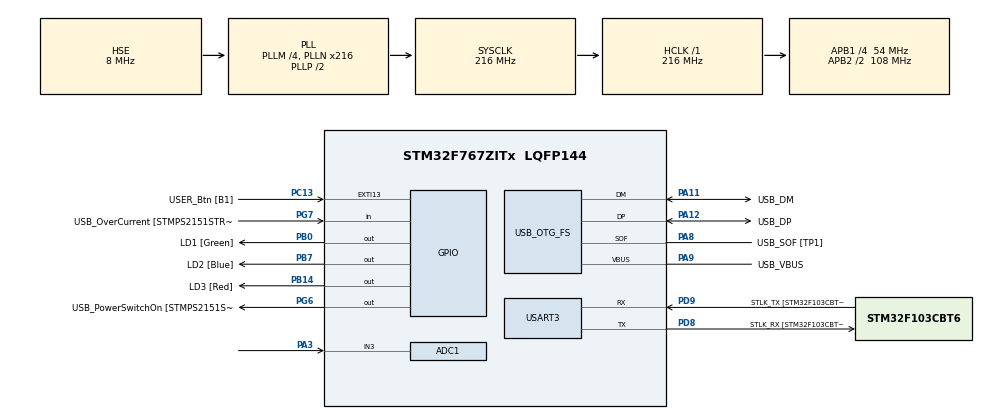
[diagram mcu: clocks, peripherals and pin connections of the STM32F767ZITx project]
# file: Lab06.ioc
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ADC1.Channel-0\#ChannelRegularConversion=ADC_CHANNEL_3
ADC1.ExternalTrigConv=ADC_EXTERNALTRIGCONV_T2_TRGO
ADC1.NbrOfConversionFlag=1
ADC1.Rank-0\#ChannelRegularConversion=1
ADC1.SamplingTime-0\#ChannelRegularConversion=ADC_SAMPLETIME_28CYCLES
ADC1.master=1
Mcu.Family=STM32F7
Mcu.Name=STM32F767ZITx
Mcu.Package=LQFP144
NVIC.ADC_IRQn=true\:2\:0\:true\:false\:true\:true\:true\:true
NVIC.PriorityGroup=NVIC_PRIORITYGROUP_4
NVIC.TIM1_UP_TIM10_IRQn=true\:1\:0\:true\:false\:true\:true\:true\:true
NVIC.TIM2_IRQn=true\:2\:0\:true\:false\:true\:true\:true\:true
PA1.GPIO_Label=RMII_REF_CLK [LAN8742A-CZ-TR_REFCLK0]
PA1.Signal=ETH_REF_CLK
PA10.GPIO_Label=USB_ID
PA10.Signal=USB_OTG_FS_ID
PA11.GPIO_Label=USB_DM
PA11.Mode=Device_Only
PA11.Signal=USB_OTG_FS_DM
PA12.GPIO_Label=USB_DP
PA12.Mode=Device_Only
PA12.Signal=USB_OTG_FS_DP
PA13.GPIO_Label=TMS
PA13.Mode=Serial_Wire
PA13.Signal=SYS_JTMS-SWDIO
PA14.GPIO_Label=TCK
PA14.Mode=Serial_Wire
PA14.Signal=SYS_JTCK-SWCLK
PA2.GPIO_Label=RMII_MDIO [LAN8742A-CZ-TR_MDIO]
PA2.Signal=ETH_MDIO
PA3.Signal=ADCx_IN3
PA7.GPIO_Label=RMII_CRS_DV [LAN8742A-CZ-TR_CRS_DV]
PA7.Signal=ETH_CRS_DV
PA8.GPIO_Label=USB_SOF [TP1]
PA8.Mode=Activate_SOF_FS
PA8.Signal=USB_OTG_FS_SOF
PA9.GPIO_Label=USB_VBUS
PA9.Mode=Activate_VBUS
PA9.Signal=USB_OTG_FS_VBUS
PB0.GPIO_Label=LD1 [Green]
PB0.Signal=GPIO_Output
PB13.GPIO_Label=RMII_TXD1 [LAN8742A-CZ-TR_TXD1]
PB13.Signal=ETH_TXD1
PB14.GPIO_Label=LD3 [Red]
PB14.Signal=GPIO_Output
PB3.GPIO_Label=SWO
PB3.Signal=SYS_JTDO-SWO
PB7.GPIO_Label=LD2 [Blue]
PB7.Signal=GPIO_Output
PC1.GPIO_Label=RMII_MDC [LAN8742A-CZ-TR_MDC]
PC1.Signal=ETH_MDC
PC13.GPIO_Label=USER_Btn [B1]
PC13.Signal=GPXTI13
PC14/OSC32_IN.Mode=LSE-External-Oscillator
PC14/OSC32_IN.Signal=RCC_OSC32_IN
PC15/OSC32_OUT.Mode=LSE-External-Oscillator
PC15/OSC32_OUT.Signal=RCC_OSC32_OUT
PC4.GPIO_Label=RMII_RXD0 [LAN8742A-CZ-TR_RXD0]
PC4.Signal=ETH_RXD0
PC5.GPIO_Label=RMII_RXD1 [LAN8742A-CZ-TR_RXD1]
PC5.Signal=ETH_RXD1
PD8.GPIO_Label=STLK_RX [STM32F103CBT6_PA3]
PD8.Mode=Asynchronous
PD8.Signal=USART3_TX
PD9.GPIO_Label=STLK_TX [STM32F103CBT6_PA2]
PD9.Mode=Asynchronous
PD9.Signal=USART3_RX
PG11.GPIO_Label=RMII_TX_EN [LAN8742A-CZ-TR_TXEN]
PG11.Signal=ETH_TX_EN
PG13.GPIO_Label=RMII_TXD0 [LAN8742A-CZ-TR_TXD0]
PG13.Signal=ETH_TXD0
PG6.GPIO_Label=USB_PowerSwitchOn [STMPS2151STR_EN]
PG6.Signal=GPIO_Output
PG7.GPIO_Label=USB_OverCurrent [STMPS2151STR_FAULT]
PG7.Signal=GPIO_Input
PH0/OSC_IN.GPIO_Label=MCO [STM32F103CBT6_PA8]
PH0/OSC_IN.Mode=HSE-External-Clock-Source
PH0/OSC_IN.Signal=RCC_OSC_IN
PH1/OSC_OUT.Mode=HSE-External-Clock-Source
PH1/OSC_OUT.Signal=RCC_OSC_OUT
ProjectManager.HeapSize=0x200
ProjectManager.StackSize=0x400
ProjectManager.TargetToolchain=STM32CubeIDE
RCC.48MHZClocksFreq_Value=24000000
RCC.AHBFreq_Value=216000000
RCC.APB1CLKDivider=RCC_HCLK_DIV4
RCC.APB1Freq_Value=54000000
RCC.APB1TimFreq_Value=108000000
RCC.APB2CLKDivider=RCC_HCLK_DIV2
RCC.APB2Freq_Value=108000000
RCC.APB2TimFreq_Value=216000000
RCC.CortexFreq_Value=216000000
RCC.HCLKFreq_Value=216000000
RCC.HSE_VALUE=8000000
RCC.HSI_VALUE=16000000
RCC.PLLM=4
RCC.PLLMUL=RCC_PLL_MUL9
RCC.PLLN=216
RCC.PLLQ=9
RCC.PRESCALERUSB=RCC_USBCLKSOURCE_PLL_DIV1_5
RCC.SYSCLKFreq_VALUE=216000000
RCC.SYSCLKSource=RCC_SYSCLKSOURCE_PLLCLK
RCC.SYSCLKSourceVirtual=RCC_SYSCLKSOURCE_PLLCLK
RCC.USBFreq_Value=48000000
RCC.VCOOutputFreq_Value=432000000
SH.ADCx_IN3.0=ADC1_IN3,IN3
TIM1.AutoReloadPreload=TIM_AUTORELOAD_PRELOAD_DISABLE
TIM1.Period=1000-1
TIM1.Prescaler=216-1
TIM1.RepetitionCounter=0
TIM2.ClockDivision=TIM_CLOCKDIVISION_DIV4
TIM2.Period=10000-1
TIM2.Prescaler=21600
TIM2.TIM_MasterOutputTrigger=TIM_TRGO_RESET
USART3.VirtualMode-Asynchronous=VM_ASYNC
USB_OTG_FS.VirtualMode=Device_Only
VP_TIM1_VS_ClockSourceINT.Mode=Internal
VP_TIM2_VS_ClockSourceINT.Mode=Internal
board=NUCLEO-F767ZI

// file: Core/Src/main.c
/* USER CODE BEGIN Header */
/**
  ******************************************************************************
  * @file           : main.c
  * @brief          : Main program body
  ******************************************************************************
  * @attention
  *
  * Copyright (c) 2023 STMicroelectronics.
  * All rights reserved.
  *
  * This software is licensed under terms that can be found in the LICENSE file
  * in the root directory of this software component.
  * If no LICENSE file comes with this software, it is provided AS-IS.
  *
  ******************************************************************************
  */
/* USER CODE END Header */
#include "main.h"
#include "adc.h"
#include "tim.h"
#include "usart.h"
#include "usb_otg.h"
#include "gpio.h"

/* USER CODE BEGIN Includes */
#include "string.h"
#include "stdio.h"
/* USER CODE END Includes */

/* USER CODE BEGIN PV */
uint32_t count = -1;
uint32_t time = 0;
uint32_t prev_time = 0;
uint32_t prev_count = 0;
uint32_t minute = 0;
uint32_t second = 0;
/* USER CODE END PV */

void SystemClock_Config(void);

int main(void)
{

  /* MCU Configuration--------------------------------------------------------*/

  /* Reset of all peripherals, Initializes the Flash interface and the Systick. */
  HAL_Init();

  /* Configure the system clock */
  SystemClock_Config();

  /* Initialize all configured peripherals */
  MX_GPIO_Init();
  MX_USART3_UART_Init();
  MX_USB_OTG_FS_PCD_Init();
  MX_ADC1_Init();
  MX_TIM2_Init();
  MX_TIM1_Init();
  /* USER CODE BEGIN 2 */
  HAL_TIM_Base_Start_IT(&htim1);
  HAL_TIM_Base_Start_IT(&htim2);
//  HAL_ADC_Start_IT(&hadc1);

  /* USER CODE END 2 */

  /* Infinite loop */
  while (1)
  {

  }
}

void SystemClock_Config(void)
{
  RCC_OscInitTypeDef RCC_OscInitStruct = {0};
  RCC_ClkInitTypeDef RCC_ClkInitStruct = {0};

  /** Configure LSE Drive Capability
  */
  HAL_PWR_EnableBkUpAccess();

  /** Configure the main internal regulator output voltage
  */
  __HAL_RCC_PWR_CLK_ENABLE();
  __HAL_PWR_VOLTAGESCALING_CONFIG(PWR_REGULATOR_VOLTAGE_SCALE1);

  /** Initializes the RCC Oscillators according to the specified parameters
  * in the RCC_OscInitTypeDef structure.
  */
  RCC_OscInitStruct.OscillatorType = RCC_OSCILLATORTYPE_HSE;
  RCC_OscInitStruct.HSEState = RCC_HSE_BYPASS;
  RCC_OscInitStruct.PLL.PLLState = RCC_PLL_ON;
  RCC_OscInitStruct.PLL.PLLSource = RCC_PLLSOURCE_HSE;
  RCC_OscInitStruct.PLL.PLLM = 4;
  RCC_OscInitStruct.PLL.PLLN = 216;
  RCC_OscInitStruct.PLL.PLLP = RCC_PLLP_DIV2;
  RCC_OscInitStruct.PLL.PLLQ = 9;
  RCC_OscInitStruct.PLL.PLLR = 2;
  if (HAL_RCC_OscConfig(&RCC_OscInitStruct) != HAL_OK)
  {
    Error_Handler();
  }

  /** Activate the Over-Drive mode
  */
  if (HAL_PWREx_EnableOverDrive() != HAL_OK)
  {
    Error_Handler();
  }

  /** Initializes the CPU, AHB and APB buses clocks
  */
  RCC_ClkInitStruct.ClockType = RCC_CLOCKTYPE_HCLK|RCC_CLOCKTYPE_SYSCLK
                              |RCC_CLOCKTYPE_PCLK1|RCC_CLOCKTYPE_PCLK2;
  RCC_ClkInitStruct.SYSCLKSource = RCC_SYSCLKSOURCE_PLLCLK;
  RCC_ClkInitStruct.AHBCLKDivider = RCC_SYSCLK_DIV1;
  RCC_ClkInitStruct.APB1CLKDivider = RCC_HCLK_DIV4;
  RCC_ClkInitStruct.APB2CLKDivider = RCC_HCLK_DIV2;

  if (HAL_RCC_ClockConfig(&RCC_ClkInitStruct, FLASH_LATENCY_7) != HAL_OK)
  {
    Error_Handler();
  }
}

/* USER CODE BEGIN 4 */
void displayNumber(void){
	char number[10];
	if (count == 60)
	{
		count = 0;
		minute++;
	}
	if (minute == 60)
	{
		minute = 0;
	}
	sprintf(number ,"%02d:%02d", minute, count);
	while (__HAL_UART_GET_FLAG(&huart3, UART_FLAG_TC) == RESET){}
	HAL_UART_Transmit(&huart3, (uint8_t*) &number, strlen(number), 100);
	HAL_UART_Transmit(&huart3, "\r", 1, 100);
}
/* USER CODE END 4 */

void Error_Handler(void)
{
  __disable_irq();
  while (1)
  {
  }
}
